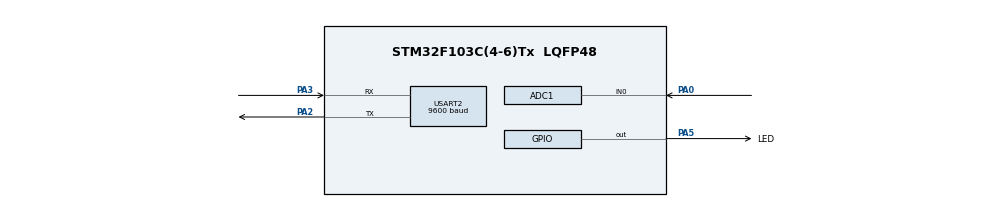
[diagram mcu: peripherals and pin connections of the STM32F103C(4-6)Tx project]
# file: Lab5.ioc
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ADC1.Channel-0\#ChannelRegularConversion=ADC_CHANNEL_0
ADC1.ContinuousConvMode=ENABLE
ADC1.NbrOfConversionFlag=1
ADC1.Rank-0\#ChannelRegularConversion=1
ADC1.SamplingTime-0\#ChannelRegularConversion=ADC_SAMPLETIME_1CYCLE_5
ADC1.master=1
Mcu.Family=STM32F1
Mcu.Name=STM32F103C(4-6)Tx
Mcu.Package=LQFP48
NVIC.PriorityGroup=NVIC_PRIORITYGROUP_4
NVIC.TIM2_IRQn=true\:0\:0\:false\:false\:true\:true\:true
NVIC.USART2_IRQn=true\:0\:0\:false\:false\:true\:true\:true
PA0-WKUP.Signal=ADCx_IN0
PA2.Mode=Asynchronous
PA2.Signal=USART2_TX
PA3.Mode=Asynchronous
PA3.Signal=USART2_RX
PA5.GPIO_Label=LED
PA5.Signal=GPIO_Output
ProjectManager.HeapSize=0x200
ProjectManager.StackSize=0x400
ProjectManager.TargetToolchain=STM32CubeIDE
RCC.APB1Freq_Value=8000000
RCC.APB2Freq_Value=8000000
SH.ADCx_IN0.0=ADC1_IN0,IN0
TIM2.Period=1000
TIM2.Prescaler=7999
USART2.BaudRate=9600
USART2.VirtualMode=VM_ASYNC
VP_SYS_VS_ND.Mode=No_Debug
VP_TIM2_VS_ClockSourceINT.Mode=Internal
board=custom

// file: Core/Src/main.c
/* USER CODE BEGIN Header */
/**
  ******************************************************************************
  * @file           : main.c
  * @brief          : Main program body
  ******************************************************************************
  * @attention
  *
  * <h2><center>&copy; Copyright (c) 2021 STMicroelectronics.
  * All rights reserved.</center></h2>
  *
  * This software component is licensed by ST under BSD 3-Clause license,
  * the "License"; You may not use this file except in compliance with the
  * License. You may obtain a copy of the License at:
  *                        opensource.org/licenses/BSD-3-Clause
  *
  ******************************************************************************
  */
/* USER CODE END Header */
#include "main.h"

/* USER CODE BEGIN Includes */
#include <stdio.h>
#include <string.h>
/* USER CODE END Includes */

ADC_HandleTypeDef hadc1;

TIM_HandleTypeDef htim2;

UART_HandleTypeDef huart2;

void SystemClock_Config(void);
static void MX_GPIO_Init(void);
static void MX_ADC1_Init(void);
static void MX_USART2_UART_Init(void);
static void MX_TIM2_Init(void);
/* USER CODE BEGIN PFP */
#define MAX_BUFFER_SIZE  30
enum stateCommanData{NEW, RST, WAITING,OK,NOT_SEND_AGAIN,SEND_AGAIN};
uint8_t state_command = NEW;
uint8_t pre_state_command = NEW;
uint8_t temp = 0;
uint8_t buffer[MAX_BUFFER_SIZE];
uint8_t index_buffer = 0;
uint8_t buffer_flag = 0;
uint8_t prev_ADC_value = 0;
uint8_t TimeoutFlag = 0;

int TIMER_CYCLE = 10;
int timer0_counter = 0;
int timer0_flag = 0;

void setTimer0(int duration){
	timer0_counter = duration/TIMER_CYCLE;
	timer0_flag = 0;
}

void timer_run0(){
	if(timer0_counter > 0){
		timer0_counter --;
		if(timer0_counter == 0){
			timer0_flag = 1;
		}
	}
}

unsigned char getTimer0(){
	return timer0_flag;
}

void HAL_UART_RxCpltCallback(UART_HandleTypeDef *huart){
	if(huart->Instance == USART2){
		buffer[index_buffer++] = temp;
		if(index_buffer == MAX_BUFFER_SIZE)
			index_buffer = 0;

		buffer_flag = 1;
		HAL_UART_Receive_IT(&huart2, &temp, 1);
	}
}

void command_parser_fsm(){
	// receive !RST#
	char receive_data[] = "!RST#";
	char response_data[] = "!OK#";
	uint8_t index = (index_buffer-2 >= 0) ? index_buffer-2 : MAX_BUFFER_SIZE-2;
		// check newline character and '#'
		if(buffer[index_buffer-1] == '\r' &&buffer[index] == '#') {
			if(buffer[index - 1] =='T'){
				state_command = RST;
				for(int i =2; i < 5; i++){
					if(buffer[index-i] != receive_data[4-i]) {
						//If the string entered is incorrect, return the previous state
						state_command = pre_state_command;
						break;
					}
				}
			}
			else if(buffer[index - 1] =='K'){
				state_command = OK;
				for(int i = 2; i<4; i++) {
					if(buffer[index-i] != response_data[3-i]) {
						//If the string entered is incorrect, return the previous state
						state_command = pre_state_command;
						break;
					}
				}
			}
		}
		else {
			return;
		}
}

void send_ADC_data(uint8_t send_status) {
	if(send_status == NOT_SEND_AGAIN ) {
		uint8_t ADC_value = HAL_ADC_GetValue(&hadc1);
		prev_ADC_value = ADC_value;
	}
	char msg[20];
	HAL_UART_Transmit(&huart2, (void *)msg, sprintf(msg, "!ADC=%d#", prev_ADC_value), 1000);
	// show time receive
	uint32_t time = HAL_GetTick()/1000;
	HAL_UART_Transmit(&huart2, (void *)msg, sprintf(msg, " -- time: %ld s\n\r", time), 1000);
}

void uart_communiation_fsm(){
	switch ( state_command ){
			case NEW :
				break ;
			case RST :
				// send new data to user
				send_ADC_data ( NOT_SEND_AGAIN );
				// change state
				state_command = WAITING ;
				// set timer for waiting time -> 3s
				setTimer0(30);
				break ;
			case WAITING :
				if(timer0_flag){
					TimeoutFlag = 1;
				}
				if( TimeoutFlag){
					// send last missed data
					send_ADC_data ( SEND_AGAIN );
					TimeoutFlag = 0;
					// set timer for waiting time -> 3s
					setTimer0(30);
				}
				break ;
			case OK:
				// reset timer
				TimeoutFlag = 0;
				// change state
				state_command = NEW ;
				break ;
		}
}

/* USER CODE END PFP */

int main(void)
{

  /* MCU Configuration--------------------------------------------------------*/

  /* Reset of all peripherals, Initializes the Flash interface and the Systick. */
  HAL_Init();

  /* Configure the system clock */
  SystemClock_Config();

  /* Initialize all configured peripherals */
  MX_GPIO_Init();
  MX_ADC1_Init();
  MX_USART2_UART_Init();
  MX_TIM2_Init();
  /* USER CODE BEGIN 2 */
  HAL_UART_Receive_IT(&huart2, &temp, 1) ;
  HAL_TIM_Base_Start_IT(&htim2);
  HAL_ADC_Start(& hadc1);
  /* USER CODE END 2 */

  /* Infinite loop */
  while (1)
  {
	  if(buffer_flag == 1){
		  command_parser_fsm();
		  buffer_flag = 0;
	  }
	  uart_communiation_fsm();
  }
}

void SystemClock_Config(void)
{
  RCC_OscInitTypeDef RCC_OscInitStruct = {0};
  RCC_ClkInitTypeDef RCC_ClkInitStruct = {0};
  RCC_PeriphCLKInitTypeDef PeriphClkInit = {0};

  /** Initializes the RCC Oscillators according to the specified parameters
  * in the RCC_OscInitTypeDef structure.
  */
  RCC_OscInitStruct.OscillatorType = RCC_OSCILLATORTYPE_HSI;
  RCC_OscInitStruct.HSIState = RCC_HSI_ON;
  RCC_OscInitStruct.HSICalibrationValue = RCC_HSICALIBRATION_DEFAULT;
  RCC_OscInitStruct.PLL.PLLState = RCC_PLL_NONE;
  if (HAL_RCC_OscConfig(&RCC_OscInitStruct) != HAL_OK)
  {
    Error_Handler();
  }
  /** Initializes the CPU, AHB and APB buses clocks
  */
  RCC_ClkInitStruct.ClockType = RCC_CLOCKTYPE_HCLK|RCC_CLOCKTYPE_SYSCLK
                              |RCC_CLOCKTYPE_PCLK1|RCC_CLOCKTYPE_PCLK2;
  RCC_ClkInitStruct.SYSCLKSource = RCC_SYSCLKSOURCE_HSI;
  RCC_ClkInitStruct.AHBCLKDivider = RCC_SYSCLK_DIV1;
  RCC_ClkInitStruct.APB1CLKDivider = RCC_HCLK_DIV1;
  RCC_ClkInitStruct.APB2CLKDivider = RCC_HCLK_DIV1;

  if (HAL_RCC_ClockConfig(&RCC_ClkInitStruct, FLASH_LATENCY_0) != HAL_OK)
  {
    Error_Handler();
  }
  PeriphClkInit.PeriphClockSelection = RCC_PERIPHCLK_ADC;
  PeriphClkInit.AdcClockSelection = RCC_ADCPCLK2_DIV2;
  if (HAL_RCCEx_PeriphCLKConfig(&PeriphClkInit) != HAL_OK)
  {
    Error_Handler();
  }
}

static void MX_ADC1_Init(void)
{

  ADC_ChannelConfTypeDef sConfig = {0};

  /** Common config
  */
  hadc1.Instance = ADC1;
  hadc1.Init.ScanConvMode = ADC_SCAN_DISABLE;
  hadc1.Init.ContinuousConvMode = ENABLE;
  hadc1.Init.DiscontinuousConvMode = DISABLE;
  hadc1.Init.ExternalTrigConv = ADC_SOFTWARE_START;
  hadc1.Init.DataAlign = ADC_DATAALIGN_RIGHT;
  hadc1.Init.NbrOfConversion = 1;
  if (HAL_ADC_Init(&hadc1) != HAL_OK)
  {
    Error_Handler();
  }
  /** Configure Regular Channel
  */
  sConfig.Channel = ADC_CHANNEL_0;
  sConfig.Rank = ADC_REGULAR_RANK_1;
  sConfig.SamplingTime = ADC_SAMPLETIME_1CYCLE_5;
  if (HAL_ADC_ConfigChannel(&hadc1, &sConfig) != HAL_OK)
  {
    Error_Handler();
  }

}

static void MX_TIM2_Init(void)
{

  TIM_ClockConfigTypeDef sClockSourceConfig = {0};
  TIM_MasterConfigTypeDef sMasterConfig = {0};

  htim2.Instance = TIM2;
  htim2.Init.Prescaler = 7999;
  htim2.Init.CounterMode = TIM_COUNTERMODE_UP;
  htim2.Init.Period = 1000;
  htim2.Init.ClockDivision = TIM_CLOCKDIVISION_DIV1;
  htim2.Init.AutoReloadPreload = TIM_AUTORELOAD_PRELOAD_DISABLE;
  if (HAL_TIM_Base_Init(&htim2) != HAL_OK)
  {
    Error_Handler();
  }
  sClockSourceConfig.ClockSource = TIM_CLOCKSOURCE_INTERNAL;
  if (HAL_TIM_ConfigClockSource(&htim2, &sClockSourceConfig) != HAL_OK)
  {
    Error_Handler();
  }
  sMasterConfig.MasterOutputTrigger = TIM_TRGO_RESET;
  sMasterConfig.MasterSlaveMode = TIM_MASTERSLAVEMODE_DISABLE;
  if (HAL_TIMEx_MasterConfigSynchronization(&htim2, &sMasterConfig) != HAL_OK)
  {
    Error_Handler();
  }

}

static void MX_USART2_UART_Init(void)
{

  huart2.Instance = USART2;
  huart2.Init.BaudRate = 9600;
  huart2.Init.WordLength = UART_WORDLENGTH_8B;
  huart2.Init.StopBits = UART_STOPBITS_1;
  huart2.Init.Parity = UART_PARITY_NONE;
  huart2.Init.Mode = UART_MODE_TX_RX;
  huart2.Init.HwFlowCtl = UART_HWCONTROL_NONE;
  huart2.Init.OverSampling = UART_OVERSAMPLING_16;
  if (HAL_UART_Init(&huart2) != HAL_OK)
  {
    Error_Handler();
  }

}

static void MX_GPIO_Init(void)
{
  GPIO_InitTypeDef GPIO_InitStruct = {0};

  /* GPIO Ports Clock Enable */
  __HAL_RCC_GPIOA_CLK_ENABLE();

  /*Configure GPIO pin Output Level */
  HAL_GPIO_WritePin(LED_GPIO_Port, LED_Pin, GPIO_PIN_RESET);

  /*Configure GPIO pin : LED_Pin */
  GPIO_InitStruct.Pin = LED_Pin;
  GPIO_InitStruct.Mode = GPIO_MODE_OUTPUT_PP;
  GPIO_InitStruct.Pull = GPIO_NOPULL;
  GPIO_InitStruct.Speed = GPIO_SPEED_FREQ_LOW;
  HAL_GPIO_Init(LED_GPIO_Port, &GPIO_InitStruct);

}

/* USER CODE BEGIN 4 */
void HAL_TIM_PeriodElapsedCallback(TIM_HandleTypeDef *htim) {
	if(htim->Instance == TIM2){
		timer_run0();
	}
}
/* USER CODE END 4 */

void Error_Handler(void)
{
  __disable_irq();
  while (1)
  {
  }
}

/************************ (C) COPYRIGHT STMicroelectronics *****END OF FILE****/
